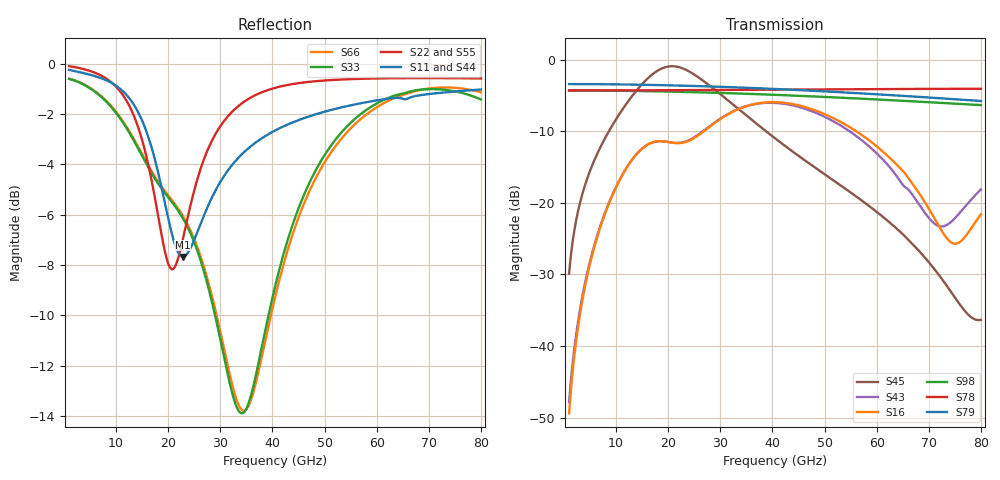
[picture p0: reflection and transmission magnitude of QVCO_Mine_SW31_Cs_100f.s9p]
! Touchstone Ver. 1.0
! Number of ports is 9
# Hz	S	RI	R	50.000000
! SCATTERING PARAMETERS  :
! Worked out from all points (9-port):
!   1001 points, 1 GHz to 80 GHz, reference 50 ohm
!   strongest paths, dB at 1 GHz, 20.75 GHz, 40.5 GHz, 60.25 GHz, 80 GHz:
!     S79: -3.4, -3.6, -4.1, -4.8, -5.8
!     S78: -4.3, -4.2, -4.2, -4.1, -4.0
!     S98: -4.3, -4.4, -4.9, -5.5, -6.3
!     S16: -49.4, -11.6, -5.9, -12.2, -21.6
!     S43: -47.8, -11.6, -6.0, -13.2, -18.1
!     S45: -29.9, -0.9, -11.0, -21.4, -36.3
!   lowest |S11| = -7.7 dB at 22.8 GHz (marker M1), VSWR 2.41, Z = 39.9 + j39.3 ohm
!   |S11| at or under -10 dB: nowhere
